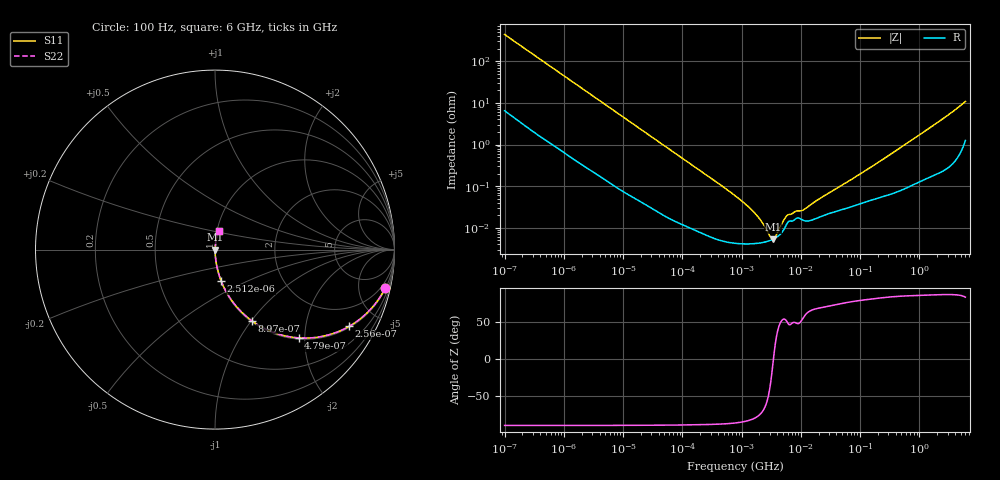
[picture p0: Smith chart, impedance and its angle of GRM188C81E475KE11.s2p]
!Murata Part Number: GRM188C81E475KE11
!These Parameters are Measured in Series Mode Connection
!Data Generated on Mar 30, 2021
!  o--ll--o
!Port1  Port2
!  o------o
!Operation Temp=25[degC], DC Bias Voltage=0[V]
!Freq. Start=100[Hz] Stop=6[GHz] 401[Steps]
# Hz S RI R 50
!Freq.(Hz) S11(Real) S11(Imag) S21(Real) S21(Imag) S12(Real) S12(Imag) S22(Real) S22(Imag)
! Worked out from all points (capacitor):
!   401 points, 100 Hz to 6 GHz, reference 50 ohm
!   read as one part in series: C = 3.6 uF near 109 Hz
!   lowest |Z| = 5.31 mohm at 3.394 MHz (marker M1)
!   series resonance near 3.45 MHz, so ESL is about 590 pH
!   S11 on the Smith chart (normalised r, x): 100 Hz: 1.13, -8.81; 256 Hz: 1.05, -3.47; 479 Hz: 1.03, -1.86; 897 Hz: 1.01, -1.00; 2.512 kHz: 1.01, -0.36; 6 GHz: 1.03, +0.22
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100  0.9481 -0.2145  0.0519 0.2145  0.0519 0.2145  0.9481 -0.2145
164  0.8762 -0.3222  0.1238 0.3222  0.1238 0.3222  0.8762 -0.3222
256  0.7478 -0.4274  0.2522 0.4274  0.2522 0.4274  0.7478 -0.4274
479  0.4653 -0.4919  0.5347 0.4919  0.5347 0.4919  0.4653 -0.4919
897  0.2039 -0.3958  0.7961 0.3958  0.7961 0.3958  0.2039 -0.3958
2008  0.0511 -0.213  0.9489 0.213  0.9489 0.213  0.0511 -0.213
2512  0.0339 -0.1738  0.9661 0.1738  0.9661 0.1738  0.0339 -0.1738
7695  0.00446 -0.0592  0.9955 0.0592  0.9955 0.0592  0.00446 -0.0592
40335  0.000362 -0.0115  0.9996 0.0115  0.9996 0.0115  0.000362 -0.0115
774597  4.26e-05 -0.00059  1 0.00059  1 0.00059  4.26e-05 -0.00059
1516199  4.13e-05 -0.000257  1 0.000257  1 0.000257  4.13e-05 -0.000257
2481164  4.54e-05 -9.48e-05  1 9.48e-05  1 9.48e-05  4.54e-05 -9.48e-05
2713602  4.7e-05 -6.87e-05  1 6.87e-05  1 6.87e-05  4.7e-05 -6.87e-05
3394479  5.29e-05 -4.6e-06  0.9999 4.6e-06  0.9999 4.6e-06  5.29e-05 -4.6e-06
4246196  6.46e-05 6.14e-05  0.9999 -6.14e-05  0.9999 -6.14e-05  6.46e-05 6.14e-05
6075234  0.000137 0.000153  0.9999 -0.000153  0.9999 -0.000153  0.000137 0.000153
8311524  0.000166 0.000188  0.9998 -0.000188  0.9998 -0.000188  0.000166 0.000188
1.087309e7  0.000152 0.000217  0.9998 -0.000217  0.9998 -0.000217  0.000152 0.000217
1.555665e7  0.000154 0.000348  0.9998 -0.000348  0.9998 -0.000348  0.000154 0.000348
3.124326e8  0.000655 0.00553  0.9993 -0.00553  0.9993 -0.00553  0.000655 0.00553
1.95892e9  0.00297 0.0324  0.997 -0.0324  0.997 -0.0324  0.00297 0.0324
6e9  0.0234 0.104  0.9766 -0.104  0.9766 -0.104  0.0234 0.104
